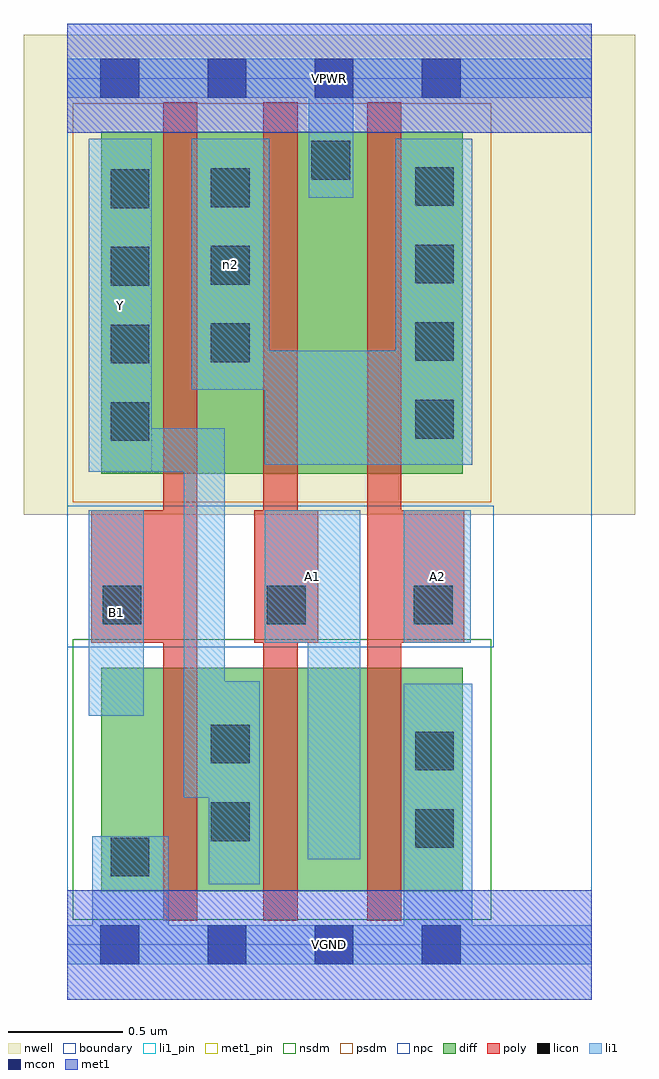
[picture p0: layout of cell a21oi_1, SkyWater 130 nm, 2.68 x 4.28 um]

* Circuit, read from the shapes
.subckt a21oi_1 A1 A2 B1 VGND VPWR Y n2
XM1 Y B1 VGND VSUBS sky130_fd_pr__nfet_01v8 w=0.98 l=0.15
XM2 n1 A1 Y VSUBS sky130_fd_pr__nfet_01v8 w=0.98 l=0.15
XM3 VGND A2 n1 VSUBS sky130_fd_pr__nfet_01v8 w=0.98 l=0.15
XM4 n2 B1 Y n3 sky130_fd_pr__pfet_01v8 w=1.5 l=0.15
XM5 VPWR A1 n2 n3 sky130_fd_pr__pfet_01v8 w=1.5 l=0.15
XM6 n2 A2 VPWR n3 sky130_fd_pr__pfet_01v8 w=1.5 l=0.15
.ends

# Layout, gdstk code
import gdstk
lib = gdstk.Library(unit=1e-6, precision=1e-09)
def R(c, l, rs):  # rectangles x0, y0, x1, y1
    for r in rs: c.add(gdstk.rectangle(r[:2], r[2:], *l))
def A(c, l, x, y, w, h, nx, ny, dx, dy):  # array of equal rectangles
    R(c, l, [(x+i*dx, y+j*dy, x+i*dx+w, y+j*dy+h) for i in range(nx) for j in range(ny)])
nwell = (64, 20)
diff = (65, 20)
poly = (66, 20)
licon = (66, 44)
li1_pin = (67, 16)
li1 = (67, 20)
mcon = (67, 44)
met1_pin = (68, 16)
met1 = (68, 20)
nsdm = (93, 44)
psdm = (94, 20)
npc = (95, 20)
boundary = (235, 4)

a21oi_1 = lib.new_cell('a21oi_1')
R(a21oi_1, nwell, [(-0.19,1.885,2.49,3.99), (0,1.885,2.3,3.99)])
R(a21oi_1, diff, [(0.15,0.235,1.735,1.215), (0.15,2.065,1.735,3.565)])
R(a21oi_1, poly, [(0.42,0.105,0.57,3.695), (0.86,0.105,1.01,3.695), (1.315,0.105,1.465,3.695), (0.105,1.325,0.57,1.905), (0.82,1.325,1.1,1.905), (1.315,1.325,1.74,1.905)])
A(a21oi_1, licon, 0.19, 2.21, 0.17, 0.17, 1, 4, 0, 0.34)
A(a21oi_1, licon, 1.525, 2.22, 0.17, 0.17, 1, 4, 0, 0.34)
A(a21oi_1, licon, 0.63, 2.555, 0.17, 0.17, 1, 3, 0, 0.34)
R(a21oi_1, licon, [(0.19,0.3,0.36,0.47), (1.525,0.425,1.695,0.595), (0.63,0.455,0.8,0.625), (1.525,0.765,1.695,0.935), (0.63,0.795,0.8,0.965), (0.155,1.405,0.325,1.575), (0.875,1.405,1.045,1.575), (1.52,1.405,1.69,1.575), (1.07,3.355,1.24,3.525)])
R(a21oi_1, li1_pin, [(0.095,1.005,0.335,1.905), (0.865,1.325,1.285,1.905), (1.475,1.325,1.77,1.905), (0.095,2.075,0.37,3.535)])
R(a21oi_1, li1, [(0,-0.085,2.3,0.085), (0.11,-0.085,0.445,0.475), (1.475,-0.085,1.775,1.145), (0.62,0.265,0.845,1.155), (1.055,0.375,1.285,1.905), (0.51,0.645,0.69,2.265), (0.095,1.005,0.335,1.905), (0.865,1.325,1.285,1.905), (1.475,1.325,1.77,1.905), (0.095,2.075,0.37,3.535), (0.095,2.075,0.69,2.265), (0.865,2.105,1.775,2.605), (1.44,2.105,1.775,3.535), (0.545,2.435,0.885,3.535), (1.06,3.275,1.255,3.885), (0,3.715,2.3,3.885)])
A(a21oi_1, mcon, 0.145, -0.085, 0.17, 0.17, 4, 2, 0.47, 3.8)
R(a21oi_1, met1_pin, [(0,-0.24,2.3,0.24), (0,3.56,2.3,4.04)])
R(a21oi_1, met1, [(0,-0.24,2.3,0.24), (0,3.56,2.3,4.04)])
R(a21oi_1, nsdm, [(0.025,0.11,1.86,1.34)])
R(a21oi_1, psdm, [(0.025,1.94,1.86,3.69)])
R(a21oi_1, npc, [(0,1.305,1.87,1.925)])
R(a21oi_1, boundary, [(0,0,2.3,3.8)])
a21oi_1.add(gdstk.Label('A1', (1.075,1.615), layer=67, texttype=5))
a21oi_1.add(gdstk.Label('A2', (1.622,1.615), layer=67, texttype=5))
a21oi_1.add(gdstk.Label('B1', (0.215,1.455), layer=67, texttype=5))
a21oi_1.add(gdstk.Label('Y', (0.232,2.805), layer=67, texttype=5))
a21oi_1.add(gdstk.Label('n2', (0.715,2.985), layer=67, texttype=5))
a21oi_1.add(gdstk.Label('VPWR', (1.15,3.8), layer=68, texttype=5))
a21oi_1.add(gdstk.Label('VGND', (1.15,0), layer=68, texttype=5))
a21oi_1.add(gdstk.Label('A1', (1.075,1.615), layer=67, texttype=16))
a21oi_1.add(gdstk.Label('A2', (1.622,1.615), layer=67, texttype=16))
a21oi_1.add(gdstk.Label('B1', (0.215,1.455), layer=67, texttype=16))
a21oi_1.add(gdstk.Label('Y', (0.232,2.805), layer=67, texttype=16))
a21oi_1.add(gdstk.Label('VPWR', (1.15,3.8), layer=68, texttype=16))
a21oi_1.add(gdstk.Label('VGND', (1.15,0), layer=68, texttype=16))

lib.write_gds('a21oi_1.gds')
